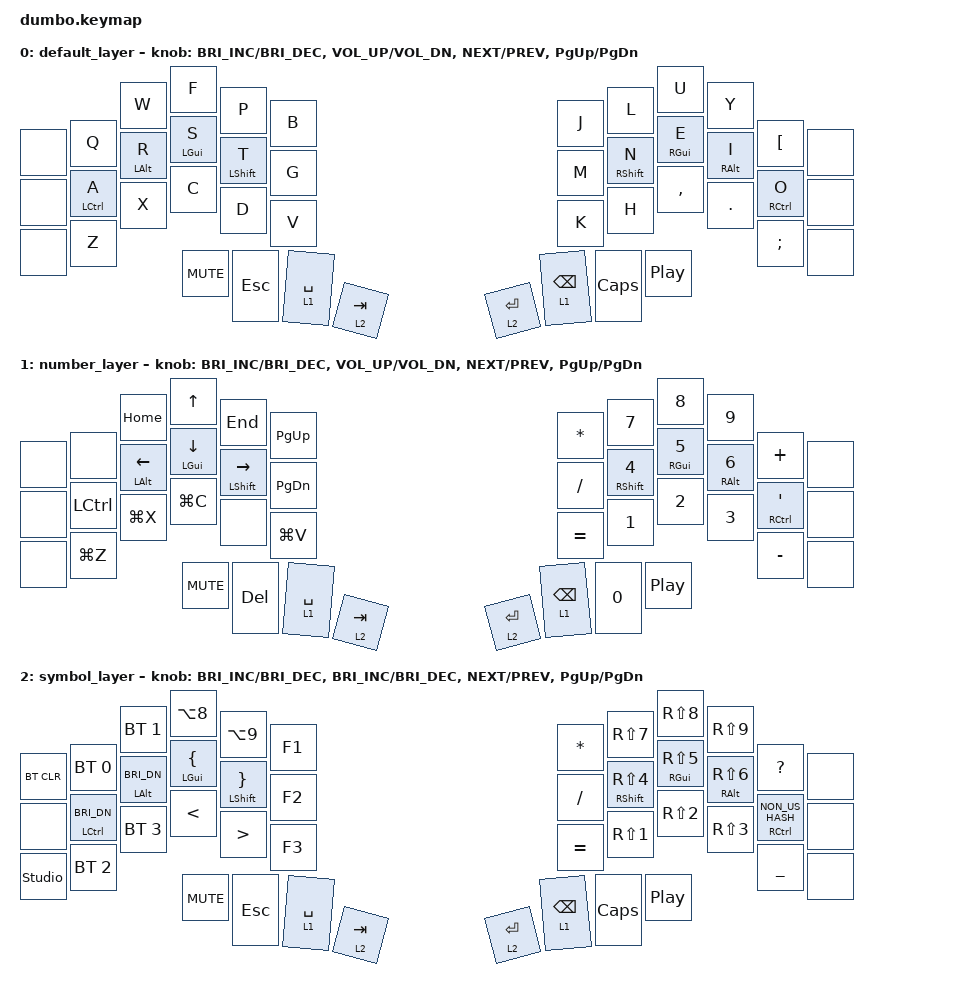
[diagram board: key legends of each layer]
// This file was generated from a template. Edit it to match your keyboard.
// See https://zmk.dev/docs/development/hardware-integration/new-shield for more instructions.

#include <behaviors.dtsi>
#include <dt-bindings/zmk/keys.h>
#include <dt-bindings/zmk/bt.h>

/ {
    behaviors {
        hm: homerow_mods {
            compatible = "zmk,behavior-hold-tap";
            #binding-cells = <2>;
            tapping-term-ms = <150>;
//            quick_tap_ms = <150>;
            flavor = "tap-preferred";
//            quick-tap-ms = <200>;
            require-prior-idle-ms = <125>;
            bindings = <&kp>, <&kp>;
        };
    };

    keymap {
        compatible = "zmk,keymap";

        default_layer {
// ------------------------------------------------------------------------------------------------------------
// |       |  Q  |  W  |  F   |  P   |  B   |                   |  J   |  L    |  U    |  Y   |   AA  |       |
// |       |  A  |  R  |  S   |  T   |  G   |                   |  M   |  N    |  E    |  I   |   O   |       |
// |       |  Z  |  X  |  C   |  D   |  V   |                   |  K   |  H    |  ,    |  .   |   AE  |       |
// |                   | MUTE | ESC  |SPACE |  TAB  |   |  ENT  | BCKSP| CAPS  | PLAY  |
// |                                 |NUM   |  SYM  |   |  SYM  |   NUM|
            bindings = <
&none  &kp Q        &kp W       &kp F         &kp P         &kp B                                    &kp J       &kp L         &kp U        &kp Y        &kp LBKT      &none
&none  &hm LCTRL A  &hm LALT R  &hm LGUI S    &hm LSHFT T   &kp G                                    &kp M       &hm RSHFT N   &hm RGUI E   &hm RALT I   &hm RCTRL O   &none
&none  &kp Z        &kp X       &kp C         &kp D         &kp V                                    &kp K       &kp H         &kp COMMA    &kp DOT      &kp SEMI      &none
                                &kp K_MUTE    &kp ESC       &lt 1 SPACE   &lt 2 TAB      &lt 2 RET   &lt 1 BSPC  &kp CAPS      &kp C_PP
            >;
//                             encoder_left1        –          encoder_left2         –       encoder_right2      –     encoder_right1
            sensor-bindings = <&inc_dec_kp C_BRI_INC C_BRI_DEC &inc_dec_kp C_VOL_UP C_VOL_DN &inc_dec_kp C_NEXT C_PREV &inc_dec_kp PG_UP PG_DN>;
        };

        number_layer {
// TODO: Some binds are waiting for shifted keycode support.
// ------------------------------------------------------------------------------------------------------------
// |       |     |HOME |  ^   |  END |PGUP  |                   |  *   |   7   |   8   |   9  |   +   |       |
// |       |     |  <- |  v   |  ->  |PGDWN |                   |  /   |   4   |   5   |   6  |   OE  |       |
// |       |UNDO | CUT | COPY |      |PASTE |                   |  =   |   1   |   2   |   3  |   -   |       |
// |                   | MUTE | DEL  |SPACE |  TAB  |   |  ENT  | BCKSP|   0   | PLAY  |
// |                                 |NUM   |  SYM  |   |  SYM  |   NUM|
            bindings = <
&none     &none        &kp HOME      &kp UP        &kp END         &kp PG_UP                                 &kp STAR    &kp N7        &kp N8       &kp N9       &kp PLUS      &none
&none     &kp LCTRL    &hm LALT LEFT &hm LGUI DOWN &hm LSHFT RIGHT &kp PG_DN                                 &kp FSLH    &hm RSHFT N4  &hm RGUI N5  &hm RALT N6  &hm RCTRL SQT &none
&none     &kp LG(Z)    &kp LG(X)     &kp LG(C)     &none           &kp LG(V)                                 &kp EQUAL   &kp N1        &kp N2       &kp N3       &kp MINUS     &none
                                     &kp K_MUTE    &kp DEL         &lt 1 SPACE   &lt 2 TAB       &lt 2 RET   &lt 1 BSPC  &kp N0        &kp C_PP
            >;
//                             encoder_left1        –          encoder_left2         –       encoder_right2      –     encoder_right1
            sensor-bindings = <&inc_dec_kp C_BRI_INC C_BRI_DEC &inc_dec_kp C_VOL_UP C_VOL_DN &inc_dec_kp C_NEXT C_PREV &inc_dec_kp PG_UP PG_DN>;
        };

        symbol_layer {
// ------------------------------------------------------------------------------------------------------------
// |BTCLR| BT1  | BT2  |   [   |   ]   |  F1  |                   |  $   |  /   |   (   |  )   |   ?   |       |
// |     | BRI- | BRI+ |   {   |   }   |  F2  |                   |  @   |  €   |   %   |  &   |   '   |       |
// |     | BT3  | BT4  |   <   |   >   |  F3  |                   |  §   |  !   |   "   |  #   |   _   |       |
// |                   | MUTE  | ESC   |SPACE |  TAB  |   |  ENT  | BCKSP| CAPS | PLAY  |
// |                                   |NUM   |  SYM  |   |  SYM  |   NUM|
            bindings = <
&bt BT_CLR      &bt BT_SEL 0              &bt BT_SEL 1       &kp LA(N8)    &kp LA(N9)      &kp F1                                     &kp STAR    &kp RS(N7)        &kp RS(N8)       &kp RS(N9)       &kp QMARK              &none
&none           &hm LCTRL C_BRI_DN       &hm LALT C_BRI_DN   &hm LGUI LBRC &hm LSHFT RBRC  &kp F2                                     &kp FSLH    &hm RSHFT RS(N4)  &hm RGUI RS(N5)  &hm RALT RS(N6)  &hm RCTRL NON_US_HASH  &none
&studio_unlock  &bt BT_SEL 2              &bt BT_SEL 3       &kp LT        &kp GT          &kp F3                                     &kp EQUAL   &kp RS(N1)        &kp RS(N2)       &kp RS(N3)       &kp UNDER              &none
                                                             &kp K_MUTE    &kp ESC         &lt 1 SPACE   &lt 2 TAB        &lt 2 RET   &lt 1 BSPC  &kp CAPS          &kp C_PP
            >;
//                             encoder_left1        –          encoder_left2         –         encoder_right2      –     encoder_right1
            sensor-bindings = <&inc_dec_kp C_BRI_INC C_BRI_DEC &inc_dec_kp C_BRI_INC C_BRI_DEC &inc_dec_kp C_NEXT C_PREV &inc_dec_kp PG_UP PG_DN>;
        };
    };
};
